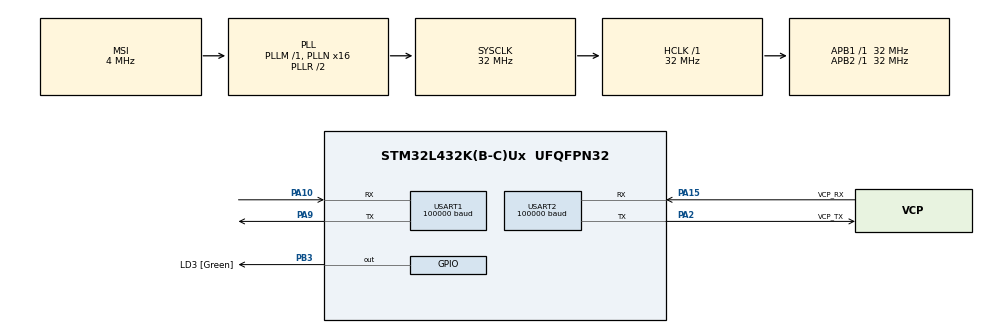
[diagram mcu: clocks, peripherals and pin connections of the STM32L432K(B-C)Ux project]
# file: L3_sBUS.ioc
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Dma.Request0=USART1_RX
Dma.USART1_RX.0.Direction=DMA_PERIPH_TO_MEMORY
Dma.USART1_RX.0.Instance=DMA1_Channel5
Dma.USART1_RX.0.MemDataAlignment=DMA_MDATAALIGN_BYTE
Dma.USART1_RX.0.MemInc=DMA_MINC_ENABLE
Dma.USART1_RX.0.Mode=DMA_NORMAL
Dma.USART1_RX.0.PeriphDataAlignment=DMA_PDATAALIGN_BYTE
Dma.USART1_RX.0.PeriphInc=DMA_PINC_DISABLE
Dma.USART1_RX.0.Priority=DMA_PRIORITY_VERY_HIGH
Mcu.Family=STM32L4
Mcu.Name=STM32L432K(B-C)Ux
Mcu.Package=UFQFPN32
NVIC.DMA1_Channel5_IRQn=true\:0\:0\:false\:false\:true\:false\:true\:true
NVIC.PriorityGroup=NVIC_PRIORITYGROUP_4
NVIC.TIM1_UP_TIM16_IRQn=true\:0\:0\:false\:false\:true\:true\:true\:true
NVIC.USART1_IRQn=true\:0\:0\:false\:false\:true\:true\:true\:true
PA0.GPIO_Label=MCO [High speed clock in]
PA0.Mode=HSE-External-Clock-Source-for-LittleOrca
PA0.Signal=RCC_CK_IN
PA10.Mode=Asynchronous
PA10.Signal=USART1_RX
PA13\ (JTMS-SWDIO).GPIO_Label=SWDIO
PA13\ (JTMS-SWDIO).Mode=Serial_Wire
PA13\ (JTMS-SWDIO).Signal=SYS_JTMS-SWDIO
PA14\ (JTCK-SWCLK).GPIO_Label=SWCLK
PA14\ (JTCK-SWCLK).Mode=Serial_Wire
PA14\ (JTCK-SWCLK).Signal=SYS_JTCK-SWCLK
PA15\ (JTDI).GPIO_Label=VCP_RX
PA15\ (JTDI).Mode=Asynchronous
PA15\ (JTDI).Signal=USART2_RX
PA2.GPIO_Label=VCP_TX
PA2.Mode=Asynchronous
PA2.Signal=USART2_TX
PA9.Mode=Asynchronous
PA9.Signal=USART1_TX
PB3\ (JTDO-TRACESWO).GPIO_Label=LD3 [Green]
PB3\ (JTDO-TRACESWO).Signal=GPIO_Output
PC14-OSC32_IN\ (PC14).Mode=LSE-External-Oscillator
PC14-OSC32_IN\ (PC14).Signal=RCC_OSC32_IN
PC15-OSC32_OUT\ (PC15).Mode=LSE-External-Oscillator
PC15-OSC32_OUT\ (PC15).Signal=RCC_OSC32_OUT
ProjectManager.HeapSize=0x200
ProjectManager.StackSize=0x400
ProjectManager.TargetToolchain=STM32CubeIDE
RCC.AHBFreq_Value=32000000
RCC.APB1Freq_Value=32000000
RCC.APB1TimFreq_Value=32000000
RCC.APB2Freq_Value=32000000
RCC.APB2TimFreq_Value=32000000
RCC.CortexFreq_Value=32000000
RCC.HCLKFreq_Value=32000000
RCC.HSE_VALUE=8000000
RCC.HSI16_VALUE=16000000
RCC.HSI48_VALUE=48000000
RCC.HSI_VALUE=16000000
RCC.MSI_VALUE=4000000
RCC.PLLMUL=RCC_PLLMUL_4
RCC.PLLN=16
RCC.SYSCLKFreq_VALUE=32000000
RCC.SYSCLKSource=RCC_SYSCLKSOURCE_PLLCLK
RCC.VCOOutputFreq_Value=64000000
TIM1.Period=500-1
TIM1.Prescaler=32000-1
USART1.BaudRate=100000
USART1.Parity=PARITY_EVEN
USART1.RxPinLevelInvertParam=ADVFEATURE_RXINV_ENABLE
USART1.StopBits=STOPBITS_2
USART1.VirtualMode-Asynchronous=VM_ASYNC
USART2.BaudRate=100000
USART2.VirtualMode-Asynchronous=VM_ASYNC
VP_TIM1_VS_ClockSourceINT.Mode=Internal
board=NUCLEO-L432KC

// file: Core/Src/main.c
/* USER CODE BEGIN Header */
/**
  ******************************************************************************
  * @file           : main.c
  * @brief          : Main program body
  ******************************************************************************
  * @attention
  *
  * Copyright (c) 2024 STMicroelectronics.
  * All rights reserved.
  *
  * This software is licensed under terms that can be found in the LICENSE file
  * in the root directory of this software component.
  * If no LICENSE file comes with this software, it is provided AS-IS.
  *
  ******************************************************************************
  */

/*
 * Configuration UART
 * - Mode: 					asynchronously
 * - Baud Rate: 			100000
 * - Word Length: 			8 bits
 * - Stop Bits: 			2
 * - Parity: 				Even
 * - Hardware Flow Control: None
 *
 * Receiving sBUS Data
 * - 25 bytes long frame (start byte and a checksum)
 * - start byte (0x0F)
 *
 * Help: (decoding sBUS)
 * - chatgpt: stm32 L4 logic to process the SBUS data
 * - cubeIDE stm32 dont jump into void HAL_UARTEx_RxEventCallback(UART_HandleTypeDef *huart, uint16_t Size)
 */

/* USER CODE END Header */
#include "main.h"

/* USER CODE BEGIN PD */

#define SBUS_START_BYTE 0x0F
#define SBUS_FRAME_LENGTH 25
#define SBUS_CHANNEL_COUNT 16

//new
#define SBUS_FRAME_SIZE 25

/* USER CODE END PD */

TIM_HandleTypeDef htim1;

UART_HandleTypeDef huart1;
UART_HandleTypeDef huart2;
DMA_HandleTypeDef hdma_usart1_rx;

/* USER CODE BEGIN PV */

//transmit variable UART2
uint8_t data_sBusTest[] = "sBUS Test!\r\n";
uint8_t data_sBusOK[] = "sBUS RX OK!\r\n";
uint8_t data_sBusRxOk[] = "sBUS Frame Correct!\r\n";
uint8_t data_sBusRxNok[] = "sBUS Frame NOT Correct!\r\n";
const char *crlf = "\r\n";

// new
uint8_t sbusBuffer[SBUS_FRAME_SIZE];
uint8_t sbusData[SBUS_FRAME_SIZE];
uint8_t sbusIndex = 0;

//receive variable UART1 (sBUS)
uint8_t sbusBuffer[SBUS_FRAME_LENGTH];
volatile uint8_t sbusDataReady = 0;

//sBUS decode
uint16_t channelValues[SBUS_CHANNEL_COUNT];
/* USER CODE END PV */

void SystemClock_Config(void);
static void MX_GPIO_Init(void);
static void MX_DMA_Init(void);
static void MX_USART2_UART_Init(void);
static void MX_USART1_UART_Init(void);
static void MX_TIM1_Init(void);

/* USER CODE BEGIN 0 */

//function for parsing sBUS data
void parseSBUSData(uint8_t *buffer)
{
    // Check for valid start byte (0x0F)
    if (buffer[0] != 0x0F || buffer[SBUS_FRAME_LENGTH - 1] != 0x00)
    {
        // Invalid frame, return
    	HAL_UART_Transmit(&huart2, data_sBusRxNok, sizeof(data_sBusRxNok), 100);
        return;
    }

    // Valid frame
    HAL_UART_Transmit(&huart2, data_sBusRxOk, sizeof(data_sBusRxOk), 100);

    // Extract channel values
    for (int i = 0; i < SBUS_CHANNEL_COUNT; i++)
    {
        if (i < 8)
        {
            // First 8 channels: use first 16 bytes
            channelValues[i] = (buffer[1 + (i * 2)] & 0x07) | (buffer[2 + (i * 2)] << 3);
        }
        else
        {
            // Next 8 channels: use last 9 bytes
            channelValues[i] = (buffer[2 + ((i - 8) * 2)] >> 5) | ((buffer[3 + ((i - 8) * 2)] & 0xFF) << 3);
        }
    }

    // Process flags (if necessary)
    uint8_t flags = buffer[SBUS_FRAME_LENGTH - 2];
    // Check for failsafe or lost frame conditions
    if (flags & 0x04)
    {
        // Failsafe triggered
    	// Handle failsafe condition
    	// For example, set a flag, log the event, or revert to a safe state
    }
    if (flags & 0x08)
    {
        // Frame lost
    	// Handle frame loss condition
    	// You may want to log this or take action to recover
    }
}

void HAL_UARTEx_RxEventCallback(UART_HandleTypeDef *huart, uint16_t Size)
{
    if (huart->Instance == USART1)
    {
    	// Process the received data
    	parseSBUSData(sbusBuffer);

        // Restart DMA reception
    	HAL_UARTEx_ReceiveToIdle_DMA(&huart1, sbusBuffer, SBUS_FRAME_LENGTH);

    	HAL_UART_Transmit(&huart2, data_sBusOK, sizeof(data_sBusOK), 100);
    }
}

//// new
//void decodeSBusFrame(uint8_t *frame)
//{
//    if (frame[0] == 0x0F && frame[24] == 0x00)
//    {
//        // Frame is valid, decode channels
//        for (int i = 0; i < 16; i++)
//        {
//            uint16_t channel = ((uint16_t)frame[1 + (i * 2)] | ((uint16_t)frame[2 + (i * 2)] << 8)) & 0x07FF;
//            // Process the channel data
//        }
//    }
//}

//// new
//void HAL_UART_RxCpltCallback(UART_HandleTypeDef *huart)
//{
//    if (huart->Instance == USART1)
//    {
//        sbusBuffer[sbusIndex++] = sbusData[0];
//        if (sbusIndex >= SBUS_FRAME_SIZE)
//        {
//            sbusIndex = 0;
//            // Process the received sBus frame
//            decodeSBusFrame(sbusBuffer);
//        }
//        HAL_UART_Receive_IT(&huart1, sbusData, 1);
//    }
//}

void HAL_UART_ErrorCallback(UART_HandleTypeDef *huart)
{
    if (huart->Instance == USART1)
    {
        // Handle UART2 errors
        if (huart->ErrorCode & HAL_UART_ERROR_ORE)
        {
            // Overrun Error
        	HAL_UART_Transmit(&huart2, (uint8_t *)"\r\nOverrun Error UART1!", 50, 100);
        }
        if (huart->ErrorCode & HAL_UART_ERROR_FE)
        {
            // Framing Error
        	HAL_UART_Transmit(&huart2, (uint8_t *)"\r\nFraming Error UART1!", 50, 100);
        }
        if (huart->ErrorCode & HAL_UART_ERROR_NE)
        {
            // Noise Error
        	HAL_UART_Transmit(&huart2, (uint8_t *)"\r\nNoise Error UART1!", 50, 100);
        }
        if (huart->ErrorCode & HAL_UART_ERROR_PE)
        {
            // Parity Error
        	HAL_UART_Transmit(&huart2, (uint8_t *)"\r\nParity Error UART1!", 50, 100);
        }

        // Optionally reset the UART
        //HAL_UART_DeInit(huart);
        //HAL_UART_Init(huart);  // Reinitialize if necessary
    }
}

/* USER CODE END 0 */

int main(void)
{

  /* MCU Configuration--------------------------------------------------------*/

  /* Reset of all peripherals, Initializes the Flash interface and the Systick. */
  HAL_Init();

  /* Configure the system clock */
  SystemClock_Config();

  /* Initialize all configured peripherals */
  MX_GPIO_Init();
  MX_DMA_Init();
  MX_USART2_UART_Init();
  MX_USART1_UART_Init();
  MX_TIM1_Init();
  /* USER CODE BEGIN 2 */
  // Start TIM1 in interrupt mode
  HAL_TIM_Base_Start_IT(&htim1);
  // Start UART1 reception with DMA
  //  HAL_UART_Receive_DMA(&huart1, sbusBuffer, SBUS_FRAME_LENGTH);
  HAL_UARTEx_ReceiveToIdle_DMA(&huart1, sbusBuffer, SBUS_FRAME_LENGTH);

  //new
  //HAL_UART_Receive_IT(&huart1, sbusData, 1);
  /* USER CODE END 2 */

  /* Infinite loop */
  /* USER CODE BEGIN WHILE */
  while (1)
  {
//	  // Example: Process or use the channel values
//	  for (int i = 0; i < SBUS_CHANNEL_COUNT; i++)
//	  {
//		  // Use channelValues[i] for your application
//		  uint8_t dataToSend[2]; // Array to hold the two bytes of the uint16_t value
//		  dataToSend[0] = (channelValues[i] & 0xFF);          // Lower byte
//		  dataToSend[1] = (channelValues[i] >> 8) & 0xFF;     // Upper byte
//
//		  // Transmit the two bytes
//		  HAL_UART_Transmit(&huart2, dataToSend, sizeof(dataToSend), 10);
//	  }
//
//	  HAL_UART_Transmit(&huart2, (uint8_t *)crlf, 2, HAL_MAX_DELAY);

//	  HAL_Delay(100); // Adjust as necessary

    /* USER CODE END WHILE */

  }
}

void SystemClock_Config(void)
{
  RCC_OscInitTypeDef RCC_OscInitStruct = {0};
  RCC_ClkInitTypeDef RCC_ClkInitStruct = {0};

  /** Configure the main internal regulator output voltage
  */
  if (HAL_PWREx_ControlVoltageScaling(PWR_REGULATOR_VOLTAGE_SCALE1) != HAL_OK)
  {
    Error_Handler();
  }

  /** Configure LSE Drive Capability
  */
  HAL_PWR_EnableBkUpAccess();
  __HAL_RCC_LSEDRIVE_CONFIG(RCC_LSEDRIVE_LOW);

  /** Initializes the RCC Oscillators according to the specified parameters
  * in the RCC_OscInitTypeDef structure.
  */
  RCC_OscInitStruct.OscillatorType = RCC_OSCILLATORTYPE_LSE|RCC_OSCILLATORTYPE_MSI;
  RCC_OscInitStruct.LSEState = RCC_LSE_ON;
  RCC_OscInitStruct.MSIState = RCC_MSI_ON;
  RCC_OscInitStruct.MSICalibrationValue = 0;
  RCC_OscInitStruct.MSIClockRange = RCC_MSIRANGE_6;
  RCC_OscInitStruct.PLL.PLLState = RCC_PLL_ON;
  RCC_OscInitStruct.PLL.PLLSource = RCC_PLLSOURCE_MSI;
  RCC_OscInitStruct.PLL.PLLM = 1;
  RCC_OscInitStruct.PLL.PLLN = 16;
  RCC_OscInitStruct.PLL.PLLP = RCC_PLLP_DIV7;
  RCC_OscInitStruct.PLL.PLLQ = RCC_PLLQ_DIV2;
  RCC_OscInitStruct.PLL.PLLR = RCC_PLLR_DIV2;
  if (HAL_RCC_OscConfig(&RCC_OscInitStruct) != HAL_OK)
  {
    Error_Handler();
  }

  /** Initializes the CPU, AHB and APB buses clocks
  */
  RCC_ClkInitStruct.ClockType = RCC_CLOCKTYPE_HCLK|RCC_CLOCKTYPE_SYSCLK
                              |RCC_CLOCKTYPE_PCLK1|RCC_CLOCKTYPE_PCLK2;
  RCC_ClkInitStruct.SYSCLKSource = RCC_SYSCLKSOURCE_PLLCLK;
  RCC_ClkInitStruct.AHBCLKDivider = RCC_SYSCLK_DIV1;
  RCC_ClkInitStruct.APB1CLKDivider = RCC_HCLK_DIV1;
  RCC_ClkInitStruct.APB2CLKDivider = RCC_HCLK_DIV1;

  if (HAL_RCC_ClockConfig(&RCC_ClkInitStruct, FLASH_LATENCY_1) != HAL_OK)
  {
    Error_Handler();
  }

  /** Enable MSI Auto calibration
  */
  HAL_RCCEx_EnableMSIPLLMode();
}

static void MX_TIM1_Init(void)
{

  TIM_ClockConfigTypeDef sClockSourceConfig = {0};
  TIM_MasterConfigTypeDef sMasterConfig = {0};

  htim1.Instance = TIM1;
  htim1.Init.Prescaler = 32000-1;
  htim1.Init.CounterMode = TIM_COUNTERMODE_UP;
  htim1.Init.Period = 500-1;
  htim1.Init.ClockDivision = TIM_CLOCKDIVISION_DIV1;
  htim1.Init.RepetitionCounter = 0;
  htim1.Init.AutoReloadPreload = TIM_AUTORELOAD_PRELOAD_DISABLE;
  if (HAL_TIM_Base_Init(&htim1) != HAL_OK)
  {
    Error_Handler();
  }
  sClockSourceConfig.ClockSource = TIM_CLOCKSOURCE_INTERNAL;
  if (HAL_TIM_ConfigClockSource(&htim1, &sClockSourceConfig) != HAL_OK)
  {
    Error_Handler();
  }
  sMasterConfig.MasterOutputTrigger = TIM_TRGO_RESET;
  sMasterConfig.MasterOutputTrigger2 = TIM_TRGO2_RESET;
  sMasterConfig.MasterSlaveMode = TIM_MASTERSLAVEMODE_DISABLE;
  if (HAL_TIMEx_MasterConfigSynchronization(&htim1, &sMasterConfig) != HAL_OK)
  {
    Error_Handler();
  }

}

static void MX_USART1_UART_Init(void)
{

  huart1.Instance = USART1;
  huart1.Init.BaudRate = 100000;
  huart1.Init.WordLength = UART_WORDLENGTH_8B;
  huart1.Init.StopBits = UART_STOPBITS_2;
  huart1.Init.Parity = UART_PARITY_EVEN;
  huart1.Init.Mode = UART_MODE_TX_RX;
  huart1.Init.HwFlowCtl = UART_HWCONTROL_NONE;
  huart1.Init.OverSampling = UART_OVERSAMPLING_16;
  huart1.Init.OneBitSampling = UART_ONE_BIT_SAMPLE_DISABLE;
  huart1.AdvancedInit.AdvFeatureInit = UART_ADVFEATURE_RXINVERT_INIT;
  huart1.AdvancedInit.RxPinLevelInvert = UART_ADVFEATURE_RXINV_ENABLE;
  if (HAL_UART_Init(&huart1) != HAL_OK)
  {
    Error_Handler();
  }

}

static void MX_USART2_UART_Init(void)
{

  huart2.Instance = USART2;
  huart2.Init.BaudRate = 100000;
  huart2.Init.WordLength = UART_WORDLENGTH_8B;
  huart2.Init.StopBits = UART_STOPBITS_1;
  huart2.Init.Parity = UART_PARITY_NONE;
  huart2.Init.Mode = UART_MODE_TX_RX;
  huart2.Init.HwFlowCtl = UART_HWCONTROL_NONE;
  huart2.Init.OverSampling = UART_OVERSAMPLING_16;
  huart2.Init.OneBitSampling = UART_ONE_BIT_SAMPLE_DISABLE;
  huart2.AdvancedInit.AdvFeatureInit = UART_ADVFEATURE_NO_INIT;
  if (HAL_UART_Init(&huart2) != HAL_OK)
  {
    Error_Handler();
  }

}

static void MX_DMA_Init(void)
{

  /* DMA controller clock enable */
  __HAL_RCC_DMA1_CLK_ENABLE();

  /* DMA interrupt init */
  /* DMA1_Channel5_IRQn interrupt configuration */
  HAL_NVIC_SetPriority(DMA1_Channel5_IRQn, 0, 0);
  HAL_NVIC_EnableIRQ(DMA1_Channel5_IRQn);

}

static void MX_GPIO_Init(void)
{
  GPIO_InitTypeDef GPIO_InitStruct = {0};

  /* GPIO Ports Clock Enable */
  __HAL_RCC_GPIOC_CLK_ENABLE();
  __HAL_RCC_GPIOA_CLK_ENABLE();
  __HAL_RCC_GPIOB_CLK_ENABLE();

  /*Configure GPIO pin Output Level */
  HAL_GPIO_WritePin(LD3_GPIO_Port, LD3_Pin, GPIO_PIN_RESET);

  /*Configure GPIO pin : LD3_Pin */
  GPIO_InitStruct.Pin = LD3_Pin;
  GPIO_InitStruct.Mode = GPIO_MODE_OUTPUT_PP;
  GPIO_InitStruct.Pull = GPIO_NOPULL;
  GPIO_InitStruct.Speed = GPIO_SPEED_FREQ_LOW;
  HAL_GPIO_Init(LD3_GPIO_Port, &GPIO_InitStruct);

}

/* USER CODE BEGIN 4 */
void HAL_TIM_PeriodElapsedCallback(TIM_HandleTypeDef *htim)
{
    if (htim->Instance == TIM1)
    {
  	  HAL_UART_Transmit(&huart2, data_sBusTest, sizeof(data_sBusTest), 100);
  	  //HAL_UART_ErrorCallback(&huart1);
    }
}
/* USER CODE END 4 */

void Error_Handler(void)
{
  __disable_irq();
  while (1)
  {
  }
}
